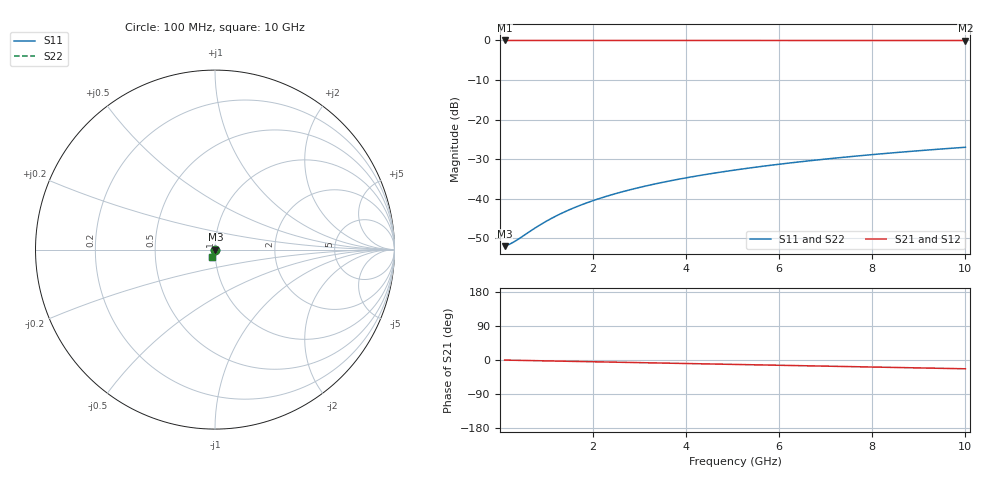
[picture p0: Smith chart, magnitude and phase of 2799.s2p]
# Hz S RI R 50.00
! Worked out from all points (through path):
!   100 points, 100 MHz to 10 GHz, reference 50 ohm
!   highest |S21| = -0.02 dB at 100 MHz (marker M1); lowest = 0.0 dB at 10 GHz (marker M2)
!   group delay of S21, straight-line fit = 6.44 ps
!   lowest |S11| = -52.0 dB at 100 MHz (marker M3), VSWR 1.01, Z = 50.2 - j0.0468 ohm
!   |S11| at or under -10 dB: start of sweep to end of sweep
!   |S22| runs from -52.0 to -27.0 dB; largest |S21 - S12| = 0
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1e8  0.00247 -0.000465  0.9975 -0.00403  0.9975 -0.00403  0.00247 -0.000465
2e8  0.00248 -0.000931  0.9975 -0.00806  0.9975 -0.00806  0.00248 -0.000931
3e8  0.00248 -0.0014  0.9974 -0.0121  0.9974 -0.0121  0.00248 -0.0014
4e8  0.00247 -0.00186  0.9973 -0.0161  0.9973 -0.0161  0.00247 -0.00186
8e8  0.00241 -0.00372  0.9969 -0.0322  0.9969 -0.0322  0.00241 -0.00372
1.1e9  0.00231 -0.00511  0.9964 -0.0443  0.9964 -0.0443  0.00231 -0.00511
1.4e9  0.00218 -0.00651  0.9958 -0.0564  0.9958 -0.0564  0.00218 -0.00651
1.6e9  0.00207 -0.00743  0.9953 -0.0644  0.9953 -0.0644  0.00207 -0.00743
1.8e9  0.00195 -0.00835  0.9947 -0.0725  0.9947 -0.0725  0.00195 -0.00835
2.1e9  0.00174 -0.00974  0.9937 -0.0845  0.9937 -0.0845  0.00174 -0.00974
2.5e9  0.0014 -0.0116  0.9922 -0.1006  0.9922 -0.1006  0.0014 -0.0116
2.9e9  0.001 -0.0134  0.9904 -0.1166  0.9904 -0.1166  0.001 -0.0134
3.4e9  0.000427 -0.0157  0.9878 -0.1366  0.9878 -0.1366  0.000427 -0.0157
3.8e9  -0.000101 -0.0174  0.9854 -0.1526  0.9854 -0.1526  -0.000101 -0.0174
4.2e9  -0.000686 -0.0192  0.9827 -0.1685  0.9827 -0.1685  -0.000686 -0.0192
4.6e9  -0.00133 -0.021  0.9798 -0.1843  0.9798 -0.1843  -0.00133 -0.021
5.1e9  -0.00221 -0.0231  0.9758 -0.2041  0.9758 -0.2041  -0.00221 -0.0231
5.9e9  -0.0038 -0.0265  0.9685 -0.2356  0.9685 -0.2356  -0.0038 -0.0265
6.7e9  -0.00561 -0.0298  0.9603 -0.2668  0.9603 -0.2668  -0.00561 -0.0298
7.5e9  -0.00763 -0.033  0.951 -0.2977  0.951 -0.2977  -0.00763 -0.033
8.4e9  -0.0101 -0.0364  0.9393 -0.3321  0.9393 -0.3321  -0.0101 -0.0364
1e10  -0.0152 -0.042  0.9155 -0.3921  0.9155 -0.3921  -0.0152 -0.042
